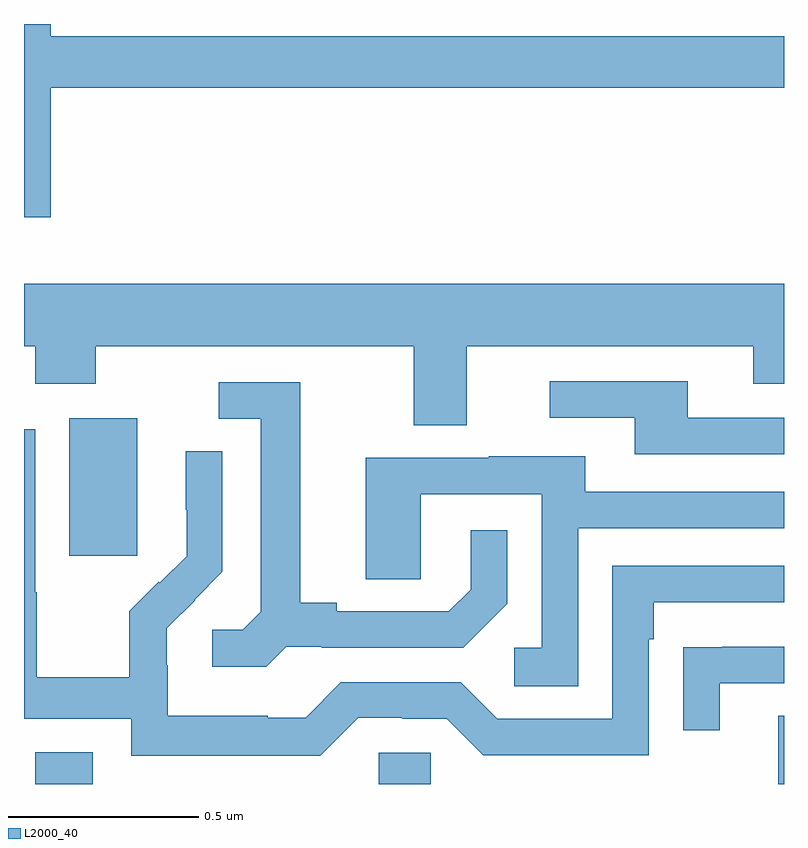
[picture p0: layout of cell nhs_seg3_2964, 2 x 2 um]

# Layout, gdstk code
import gdstk
lib = gdstk.Library(unit=1e-6, precision=1e-09)
def R(c, l, rs):  # rectangles x0, y0, x1, y1
    for r in rs: c.add(gdstk.rectangle(r[:2], r[2:], *l))
def P(c, l, *ps):  # polygons
    for p in ps: c.add(gdstk.Polygon(p, *l))
L2000_40 = (2000, 40)

nhs_seg3_2964 = lib.new_cell('nhs_seg3_2964')
R(nhs_seg3_2964, L2000_40, [(147.029,730.4,147.181,730.483), (147.933,730.4,148.071,730.482), (148.985,730.4,149,730.579), (147.119,731.001,147.298,731.362)])
P(nhs_seg3_2964, L2000_40, [(147.071,732.232),(149,732.232),(149,732.368),(147.071,732.368),(147.071,732.4),(147,732.4),(147,731.892),(147.071,731.892)],
  [(148.165,731.552),(148.919,731.552),(148.919,731.453),(149,731.453),(149,731.716),(147,731.716),(147,731.552),(147.029,731.552),(147.029,731.453),(147.189,731.453),(147.189,731.552),(148.025,731.552),(148.025,731.344),(148.165,731.344)],
  [(149,731.364),(148.747,731.364),(148.747,731.46),(148.383,731.46),(148.383,731.364),(148.607,731.364),(148.607,731.268),(149,731.268)],
  [(147.69,730.761),(147.784,730.761),(147.784,730.758),(148.156,730.758),(148.272,730.874),(148.272,731.068),(148.175,731.068),(148.175,730.911),(148.118,730.854),(147.823,730.854),(147.823,730.877),(147.727,730.877),(147.727,731.457),(147.513,731.457),(147.513,731.361),(147.623,731.361),(147.623,730.853),(147.576,730.806),(147.495,730.806),(147.495,730.709),(147.638,730.709)],
  [(147.879,730.575),(147.995,730.575),(147.995,730.572),(148.113,730.572),(148.209,730.476),(148.644,730.476),(148.644,730.781),(148.657,730.781),(148.657,730.878),(149,730.878),(149,730.974),(148.548,730.974),(148.548,730.572),(148.245,730.572),(148.149,730.668),(147.834,730.668),(147.741,730.575),(147.641,730.575),(147.641,730.579),(147.378,730.579),(147.378,730.713),(147.376,730.713),(147.376,730.81),(147.45,730.884),(147.449,730.885),(147.522,730.958),(147.522,731.276),(147.426,731.276),(147.426,731.122),(147.428,731.122),(147.428,731),(147.357,730.929),(147.354,730.932),(147.277,730.855),(147.277,730.681),(147.033,730.681),(147.033,730.904),(147.03,730.904),(147.03,731.334),(147,731.334),(147,730.572),(147.282,730.572),(147.282,730.475),(147.779,730.475)],
  [(148.458,731.073),(149,731.073),(149,731.169),(148.477,731.169),(148.477,731.263),(148.223,731.263),(148.223,731.259),(147.899,731.259),(147.899,730.939),(148.044,730.939),(148.044,731.163),(148.362,731.163),(148.362,730.758),(148.29,730.758),(148.29,730.657),(148.458,730.657)],
  [(148.831,730.665),(149,730.665),(149,730.761),(148.837,730.761),(148.837,730.76),(148.735,730.76),(148.735,730.542),(148.831,730.542)])

lib.write_gds('nhs_seg3_2964.gds')
